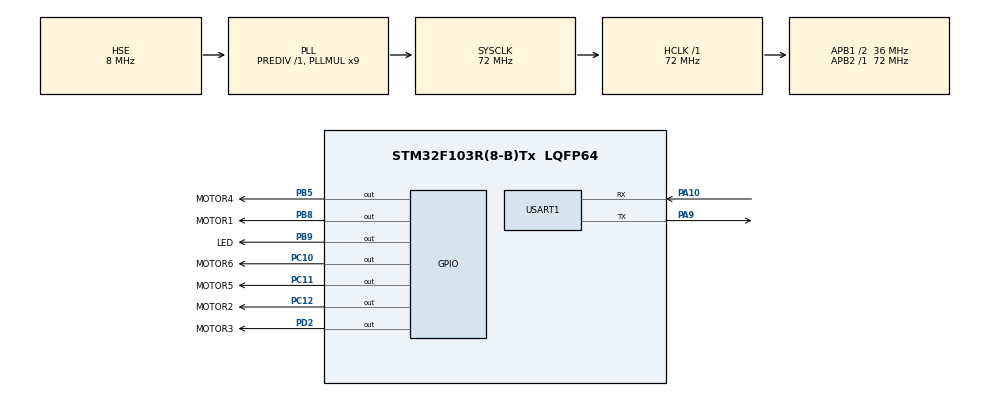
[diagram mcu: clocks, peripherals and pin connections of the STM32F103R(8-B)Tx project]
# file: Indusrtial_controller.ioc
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Mcu.Family=STM32F1
Mcu.Name=STM32F103R(8-B)Tx
Mcu.Package=LQFP64
NVIC.PriorityGroup=NVIC_PRIORITYGROUP_4
NVIC.TIM3_IRQn=true\:0\:0\:false\:false\:true\:true\:true\:true
NVIC.USART1_IRQn=true\:0\:0\:false\:false\:true\:true\:true\:true
PA10.Mode=Asynchronous
PA10.Signal=USART1_RX
PA13.Mode=Serial_Wire
PA13.Signal=SYS_JTMS-SWDIO
PA14.Mode=Serial_Wire
PA14.Signal=SYS_JTCK-SWCLK
PA9.Mode=Asynchronous
PA9.Signal=USART1_TX
PB5.GPIO_Label=MOTOR4
PB5.GPIO_PuPd=GPIO_PULLDOWN
PB5.GPIO_Speed=GPIO_SPEED_FREQ_HIGH
PB5.Signal=GPIO_Output
PB8.GPIO_Label=MOTOR1
PB8.GPIO_PuPd=GPIO_PULLDOWN
PB8.GPIO_Speed=GPIO_SPEED_FREQ_HIGH
PB8.Signal=GPIO_Output
PB9.GPIO_Label=LED
PB9.Signal=GPIO_Output
PC10.GPIO_Label=MOTOR6
PC10.GPIO_PuPd=GPIO_PULLDOWN
PC10.GPIO_Speed=GPIO_SPEED_FREQ_HIGH
PC10.Signal=GPIO_Output
PC11.GPIO_Label=MOTOR5
PC11.GPIO_PuPd=GPIO_PULLDOWN
PC11.GPIO_Speed=GPIO_SPEED_FREQ_HIGH
PC11.Signal=GPIO_Output
PC12.GPIO_Label=MOTOR2
PC12.GPIO_PuPd=GPIO_PULLDOWN
PC12.GPIO_Speed=GPIO_SPEED_FREQ_HIGH
PC12.Signal=GPIO_Output
PD0-OSC_IN.Mode=HSE-External-Oscillator
PD0-OSC_IN.Signal=RCC_OSC_IN
PD1-OSC_OUT.Mode=HSE-External-Oscillator
PD1-OSC_OUT.Signal=RCC_OSC_OUT
PD2.GPIO_Label=MOTOR3
PD2.GPIO_PuPd=GPIO_PULLDOWN
PD2.GPIO_Speed=GPIO_SPEED_FREQ_HIGH
PD2.Signal=GPIO_Output
ProjectManager.HeapSize=0x400
ProjectManager.StackSize=0x800
ProjectManager.TargetToolchain=MDK-ARM V5
RCC.AHBFreq_Value=72000000
RCC.APB1CLKDivider=RCC_HCLK_DIV2
RCC.APB1Freq_Value=36000000
RCC.APB1TimFreq_Value=72000000
RCC.APB2Freq_Value=72000000
RCC.APB2TimFreq_Value=72000000
RCC.HCLKFreq_Value=72000000
RCC.PLLMUL=RCC_PLL_MUL9
RCC.PLLSourceVirtual=RCC_PLLSOURCE_HSE
RCC.SYSCLKFreq_VALUE=72000000
RCC.SYSCLKSource=RCC_SYSCLKSOURCE_PLLCLK
RCC.USBFreq_Value=72000000
TIM3.Period=9
TIM3.Prescaler=71
USART1.VirtualMode=VM_ASYNC
VP_TIM3_VS_ClockSourceINT.Mode=Internal
board=custom

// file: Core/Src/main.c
/* USER CODE BEGIN Header */
/**
  ******************************************************************************
  * @file           : main.c
  * @brief          : Main program body
  ******************************************************************************
  * @attention
  *
  * Copyright (c) 2023 STMicroelectronics.
  * All rights reserved.
  *
  * This software is licensed under terms that can be found in the LICENSE file
  * in the root directory of this software component.
  * If no LICENSE file comes with this software, it is provided AS-IS.
  *
  ******************************************************************************
  */
/* USER CODE END Header */
#include "main.h"

/* USER CODE BEGIN Includes */
#include "motor.h"
#include "uart.h"
#include "stdio.h"
/* USER CODE END Includes */

/* USER CODE BEGIN PTD */
//int count =0;
//int Threshold = 150;
/* USER CODE END PTD */

TIM_HandleTypeDef htim3;

UART_HandleTypeDef huart1;

/* USER CODE BEGIN PV */
int fputc(int ch, FILE *f)
{
HAL_UART_Transmit(&huart1, (uint8_t *)&ch, 1, HAL_MAX_DELAY);
return ch;
}
int fgetc(FILE *f)
{
uint8_t ch;
HAL_UART_Receive(&huart1, (uint8_t *)&ch, 1, HAL_MAX_DELAY);
return ch;
}
/* USER CODE END PV */

void SystemClock_Config(void);
static void MX_GPIO_Init(void);
static void MX_TIM3_Init(void);
static void MX_USART1_UART_Init(void);

/* USER CODE BEGIN 0 */

uint8_t aRxBuffer[1]; // HAL库使用的串口缓冲标记
uint16_t USART_RX_STA = 0; // 接收状态标记
static uint16_t USART_RX_COUNT = 0; // 接收数量标记
uint8_t USART_RX_BUF[200]; //存放数据的缓冲区
uint16_t  flag = 0;
int Receive_detect(void);
/* USER CODE END 0 */

int main(void)
{

  /* MCU Configuration--------------------------------------------------------*/

  /* Reset of all peripherals, Initializes the Flash interface and the Systick. */
  HAL_Init();

  /* Configure the system clock */
  SystemClock_Config();

  /* Initialize all configured peripherals */
  MX_GPIO_Init();
  MX_TIM3_Init();
  MX_USART1_UART_Init();
  /* USER CODE BEGIN 2 */
	HAL_UART_Receive_IT( &huart1,(uint8_t *)aRxBuffer,1);
	__HAL_TIM_CLEAR_IT(&htim3, TIM_IT_UPDATE);
	HAL_TIM_Base_Start_IT(&htim3);
	printf("Hello World!");
	Motor_Init();
  /* USER CODE END 2 */

  /* Infinite loop */
  /* USER CODE BEGIN WHILE */
  while (1)
  {
		HAL_GPIO_TogglePin(LED_GPIO_Port,LED_Pin);
		printf("\r\n motor1 speed: %d\r\n",motor1.speed);
		printf("\r\n motor1 aim_angle: %f\r\n",motor1.angle);
		printf("\r\n motor1 angle: %f\r\n",duty2angle(motor1.duty));

		printf("\r\n motor2 speed: %d\r\n",motor2.speed);
		printf("\r\n motor2 aim_angle: %f\r\n",motor2.angle);
		printf("\r\n motor2 angle: %f\r\n",duty2angle(motor2.duty));

		printf("\r\n motor3 speed: %d\r\n",motor3.speed);
		printf("\r\n motor3 aim_angle: %f\r\n",motor3.angle);
		printf("\r\n motor3 angle: %f\r\n",duty2angle(motor3.duty));

		printf("\r\n motor4 speed: %d\r\n",motor4.speed);
		printf("\r\n motor4 aim_angle: %f\r\n",motor4.angle);
		printf("\r\n motor4 angle: %f\r\n",duty2angle(motor4.duty));

		printf("\r\n motor5 speed: %d\r\n",motor5.speed);
		printf("\r\n motor5 aim_angle: %f\r\n",motor5.angle);
		printf("\r\n motor5 angle: %f\r\n",duty2angle(motor5.duty));

		printf("\r\n motor6 speed: %d\r\n",motor6.speed);
		printf("\r\n motor6 aim_angle: %f\r\n",motor6.angle);
		printf("\r\n motor6 angle: %f\r\n",duty2angle(motor6.duty));
		printf("\r\n TIM3_COUNT: %d\r\n",TIM3_COUNT);
		printf("\r\n x: %f \r\n y: %f \r\n z: %f \r\n",x,y,z);
		Motion_Control();
		HAL_Delay(1000);
    /* USER CODE END WHILE */

  }
}

void SystemClock_Config(void)
{
  RCC_OscInitTypeDef RCC_OscInitStruct = {0};
  RCC_ClkInitTypeDef RCC_ClkInitStruct = {0};

  /** Initializes the RCC Oscillators according to the specified parameters
  * in the RCC_OscInitTypeDef structure.
  */
  RCC_OscInitStruct.OscillatorType = RCC_OSCILLATORTYPE_HSE;
  RCC_OscInitStruct.HSEState = RCC_HSE_ON;
  RCC_OscInitStruct.HSEPredivValue = RCC_HSE_PREDIV_DIV1;
  RCC_OscInitStruct.HSIState = RCC_HSI_ON;
  RCC_OscInitStruct.PLL.PLLState = RCC_PLL_ON;
  RCC_OscInitStruct.PLL.PLLSource = RCC_PLLSOURCE_HSE;
  RCC_OscInitStruct.PLL.PLLMUL = RCC_PLL_MUL9;
  if (HAL_RCC_OscConfig(&RCC_OscInitStruct) != HAL_OK)
  {
    Error_Handler();
  }

  /** Initializes the CPU, AHB and APB buses clocks
  */
  RCC_ClkInitStruct.ClockType = RCC_CLOCKTYPE_HCLK|RCC_CLOCKTYPE_SYSCLK
                              |RCC_CLOCKTYPE_PCLK1|RCC_CLOCKTYPE_PCLK2;
  RCC_ClkInitStruct.SYSCLKSource = RCC_SYSCLKSOURCE_PLLCLK;
  RCC_ClkInitStruct.AHBCLKDivider = RCC_SYSCLK_DIV1;
  RCC_ClkInitStruct.APB1CLKDivider = RCC_HCLK_DIV2;
  RCC_ClkInitStruct.APB2CLKDivider = RCC_HCLK_DIV1;

  if (HAL_RCC_ClockConfig(&RCC_ClkInitStruct, FLASH_LATENCY_2) != HAL_OK)
  {
    Error_Handler();
  }
}

static void MX_TIM3_Init(void)
{

  TIM_ClockConfigTypeDef sClockSourceConfig = {0};
  TIM_MasterConfigTypeDef sMasterConfig = {0};

  htim3.Instance = TIM3;
  htim3.Init.Prescaler = 71;
  htim3.Init.CounterMode = TIM_COUNTERMODE_UP;
  htim3.Init.Period = 9;
  htim3.Init.ClockDivision = TIM_CLOCKDIVISION_DIV1;
  htim3.Init.AutoReloadPreload = TIM_AUTORELOAD_PRELOAD_DISABLE;
  if (HAL_TIM_Base_Init(&htim3) != HAL_OK)
  {
    Error_Handler();
  }
  sClockSourceConfig.ClockSource = TIM_CLOCKSOURCE_INTERNAL;
  if (HAL_TIM_ConfigClockSource(&htim3, &sClockSourceConfig) != HAL_OK)
  {
    Error_Handler();
  }
  sMasterConfig.MasterOutputTrigger = TIM_TRGO_RESET;
  sMasterConfig.MasterSlaveMode = TIM_MASTERSLAVEMODE_DISABLE;
  if (HAL_TIMEx_MasterConfigSynchronization(&htim3, &sMasterConfig) != HAL_OK)
  {
    Error_Handler();
  }

}

static void MX_USART1_UART_Init(void)
{

  huart1.Instance = USART1;
  huart1.Init.BaudRate = 115200;
  huart1.Init.WordLength = UART_WORDLENGTH_8B;
  huart1.Init.StopBits = UART_STOPBITS_1;
  huart1.Init.Parity = UART_PARITY_NONE;
  huart1.Init.Mode = UART_MODE_TX_RX;
  huart1.Init.HwFlowCtl = UART_HWCONTROL_NONE;
  huart1.Init.OverSampling = UART_OVERSAMPLING_16;
  if (HAL_UART_Init(&huart1) != HAL_OK)
  {
    Error_Handler();
  }

}

static void MX_GPIO_Init(void)
{
  GPIO_InitTypeDef GPIO_InitStruct = {0};

  /* GPIO Ports Clock Enable */
  __HAL_RCC_GPIOD_CLK_ENABLE();
  __HAL_RCC_GPIOA_CLK_ENABLE();
  __HAL_RCC_GPIOC_CLK_ENABLE();
  __HAL_RCC_GPIOB_CLK_ENABLE();

  /*Configure GPIO pin Output Level */
  HAL_GPIO_WritePin(GPIOC, MOTOR6_Pin|MOTOR5_Pin|MOTOR2_Pin, GPIO_PIN_RESET);

  /*Configure GPIO pin Output Level */
  HAL_GPIO_WritePin(MOTOR3_GPIO_Port, MOTOR3_Pin, GPIO_PIN_RESET);

  /*Configure GPIO pin Output Level */
  HAL_GPIO_WritePin(GPIOB, MOTOR4_Pin|MOTOR1_Pin|LED_Pin, GPIO_PIN_RESET);

  /*Configure GPIO pins : MOTOR6_Pin MOTOR5_Pin MOTOR2_Pin */
  GPIO_InitStruct.Pin = MOTOR6_Pin|MOTOR5_Pin|MOTOR2_Pin;
  GPIO_InitStruct.Mode = GPIO_MODE_OUTPUT_PP;
  GPIO_InitStruct.Pull = GPIO_PULLDOWN;
  GPIO_InitStruct.Speed = GPIO_SPEED_FREQ_HIGH;
  HAL_GPIO_Init(GPIOC, &GPIO_InitStruct);

  /*Configure GPIO pin : MOTOR3_Pin */
  GPIO_InitStruct.Pin = MOTOR3_Pin;
  GPIO_InitStruct.Mode = GPIO_MODE_OUTPUT_PP;
  GPIO_InitStruct.Pull = GPIO_PULLDOWN;
  GPIO_InitStruct.Speed = GPIO_SPEED_FREQ_HIGH;
  HAL_GPIO_Init(MOTOR3_GPIO_Port, &GPIO_InitStruct);

  /*Configure GPIO pins : MOTOR4_Pin MOTOR1_Pin */
  GPIO_InitStruct.Pin = MOTOR4_Pin|MOTOR1_Pin;
  GPIO_InitStruct.Mode = GPIO_MODE_OUTPUT_PP;
  GPIO_InitStruct.Pull = GPIO_PULLDOWN;
  GPIO_InitStruct.Speed = GPIO_SPEED_FREQ_HIGH;
  HAL_GPIO_Init(GPIOB, &GPIO_InitStruct);

  /*Configure GPIO pin : LED_Pin */
  GPIO_InitStruct.Pin = LED_Pin;
  GPIO_InitStruct.Mode = GPIO_MODE_OUTPUT_PP;
  GPIO_InitStruct.Pull = GPIO_NOPULL;
  GPIO_InitStruct.Speed = GPIO_SPEED_FREQ_LOW;
  HAL_GPIO_Init(LED_GPIO_Port, &GPIO_InitStruct);

}

/* USER CODE BEGIN 4 */
void HAL_TIM_PeriodElapsedCallback(TIM_HandleTypeDef *htim)//对全局变量count不断自加
{
	if(htim->Instance == TIM3)
	{
		Motor_Control();
	}
	__HAL_TIM_CLEAR_IT(&htim3,TIM_IT_UPDATE);
}

void HAL_UART_RxCpltCallback(UART_HandleTypeDef *huart)
{
	if(huart->Instance == USART1)
	{
		// 蓝牙串口

		Receive_Detect();
	}
}
/* USER CODE END 4 */

void Error_Handler(void)
{
  __disable_irq();
  while (1)
  {
  }
}
